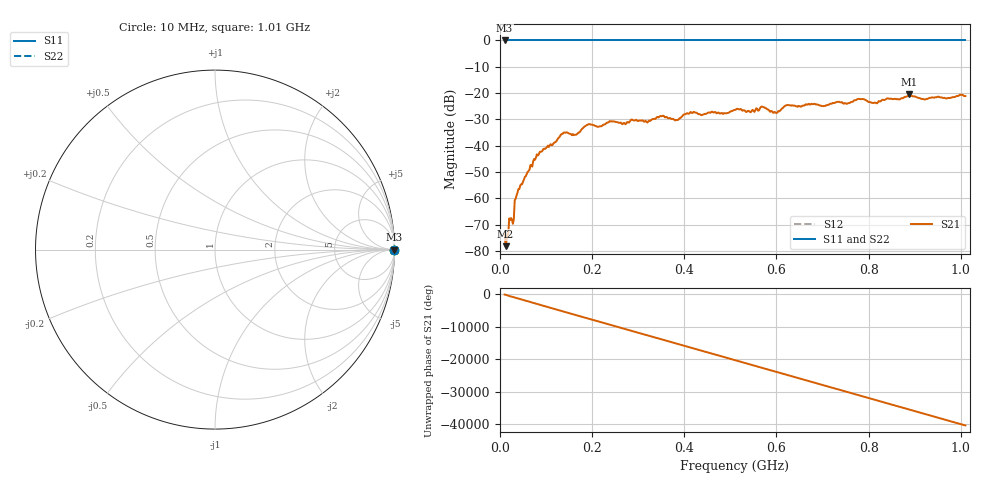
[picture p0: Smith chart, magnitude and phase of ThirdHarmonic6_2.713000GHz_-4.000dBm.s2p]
! 8/17/2025 6:33:58 AM
! C:\ANRITSUVNA\TEMP\TEMP.S2P
! CHANNEL.1
! TR.MEASUREMENT
! RAW.DATA
! RF.CORRECTION.OFF
! AVERAGING.OFF
! IF.BANDWIDTH: 5KHZ
! SWEEPTYPE:  FREQ.SWEEP(Linear)
! Reference Plane Port Info
! PORT:  PORT1  PORT2
! DISTANCE:  0  m  0  m
! TIME:  0  s  0  s
! PHASE.OFFSET:  0  deg.  0  deg.
! LOSS:  0  dB  0  dB
! REF.LOSS:  0  dB  0  dB
! REF.FREQ:  0  Hz  0  Hz
! Power Info
! POWER:  -20  dBm  -20  dBm
! EFF.POWER:  -20  dBm  -20  dBm
! SOURCE.ATTEN:  0  dB  0  dB
! TEST.ATTEN:  0  dB  0  dB
# GHZ S RI R 50.0
! FREQ.GHZ  S11RE  S11IM  S21RE  S21IM  S12RE  S12IM  S22RE  S22IM
!; PortSelection: Port_12
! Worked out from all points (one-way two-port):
!   501 points, 10 MHz to 1.01 GHz, reference 50 ohm
!   highest |S21| = -20.34 dB at 888 MHz (marker M1); lowest = -78.2 dB at 12 MHz (marker M2)
!   lowest |S11| = 0.0 dB at 10 MHz (marker M3)
!   |S11| at or under -10 dB: nowhere
!   |S22| runs from 0.0 to 0.0 dB; largest |S21 - S12| = 1.1
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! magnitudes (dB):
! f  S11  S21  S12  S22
! 10 MHz  0.0  -73.0  0.0  0.0
! 12 MHz  0.0  -78.2  0.0  0.0
! 26 MHz  0.0  -68.2  0.0  0.0
! 36 MHz  0.0  -58.9  0.0  0.0
! 76 MHz  0.0  -45.4  0.0  0.0
! 136 MHz  0.0  -35.5  0.0  0.0
! 164 MHz  0.0  -35.9  0.0  0.0
! 178 MHz  0.0  -33.6  0.0  0.0
! 192 MHz  0.0  -31.9  0.0  0.0
! 318 MHz  0.0  -30.9  0.0  0.0
! 344 MHz  0.0  -29.3  0.0  0.0
! 382 MHz  0.0  -30.2  0.0  0.0
! 416 MHz  0.0  -27.6  0.0  0.0
! 510 MHz  0.0  -26.4  0.0  0.0
! 570 MHz  0.0  -25.2  0.0  0.0
! 598 MHz  0.0  -27.4  0.0  0.0
! 622 MHz  0.0  -24.6  0.0  0.0
! 678 MHz  0.0  -24.2  0.0  0.0
! 844 MHz  0.0  -22.1  0.0  0.0
! 888 MHz  0.0  -20.3  0.0  0.0
! 920 MHz  0.0  -22.4  0.0  0.0
! 1.01 GHz  0.0  -21.2  0.0  0.0
